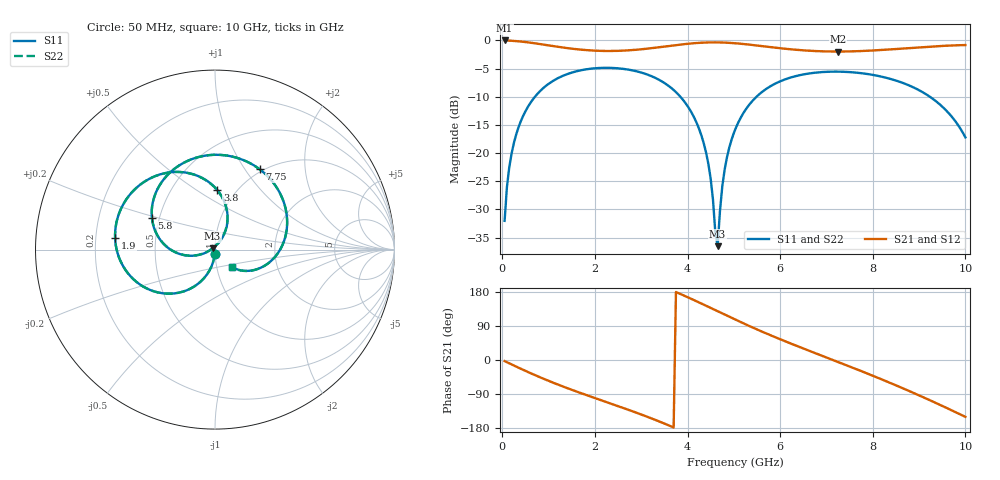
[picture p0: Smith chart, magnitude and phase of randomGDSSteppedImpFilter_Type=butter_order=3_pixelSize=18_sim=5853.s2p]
! freq	dB(S11)	phase(S11)	dB(S12)	phase(S12)
!  dB(S21)	phase(S21)	dB(S22)	phase(S22)
!S-par simulation data
#  GHz  S  DB  R 50
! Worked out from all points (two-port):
!   200 points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, 50 MHz to 10 GHz, reference 50 ohm
!   highest |S21| = -0.01 dB at 50 MHz (marker M1); lowest = -2.0 dB at 7.25 GHz (marker M2)
!   |S21| within 3 dB of the highest: start of sweep to end of sweep
!   lowest |S11| = -36.5 dB at 4.65 GHz (marker M3), VSWR 1.03, Z = 48.7 + j0.679 ohm
!   |S11| at or under -10 dB: start of sweep to 705.7 MHz; 3.846 GHz to 5.49 GHz (1.644 GHz wide, 35.2 % of centre); 9.233 GHz to end of sweep
!   |S22| runs from -36.1 to -4.9 dB; largest |S21 - S12| = 0
!   S11 on the Smith chart (normalised r, x): 50 MHz: 1.00, -0.05; 1.9 GHz: 0.28, +0.05; 3.8 GHz: 0.82, +0.61; 5.8 GHz: 0.45, +0.19; 7.75 GHz: 0.97, +1.17; 10 GHz: 1.19, -0.24
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0.05  -32.04 -93.0  -0.01 -3.0  -0.01 -3.0  -32.04 -93.0
0.1  -26.05 -96.1  -0.02 -5.9  -0.02 -5.9  -26.05 -96.1
0.2  -20.11 -102.2  -0.06 -11.7  -0.06 -11.7  -20.11 -102.2
0.5  -12.58 -119.3  -0.29 -28.7  -0.29 -28.7  -12.58 -119.3
1.05  -7.42 -148.0  -0.94 -57.5  -0.94 -57.5  -7.42 -148.0
1.75  -5.22 179.8  -1.68 -89.7  -1.68 -89.7  -5.22 179.8
1.9  -5.03 173.3  -1.77 -96.2  -1.77 -96.2  -5.03 173.4
2.75  -5.22 137.1  -1.75 -132.6  -1.75 -132.6  -5.22 137.2
3.4  -7.06 107.5  -1.20 -162.7  -1.20 -162.7  -7.06 107.6
3.8  -9.59 87.7  -0.78 176.7  -0.78 176.7  -9.59 87.9
4.35  -18.26 61.0  -0.39 146.0  -0.39 146.0  -18.25 61.4
4.5  -24.57 58.7  -0.35 137.3  -0.35 137.3  -24.54 59.7
4.65  -36.54 152.1  -0.35 128.6  -0.35 128.6  -36.07 150.9
4.8  -23.00 -160.9  -0.39 119.9  -0.39 119.9  -22.98 -161.7
5.05  -15.41 -169.2  -0.52 105.5  -0.52 105.5  -15.40 -169.4
5.8  -8.09 153.1  -1.20 64.9  -1.20 64.9  -8.09 153.1
6.7  -5.78 110.0  -1.86 20.9  -1.86 20.9  -5.78 110.0
7.25  -5.54 84.4  -1.97 -5.2  -1.97 -5.2  -5.54 84.4
7.75  -5.81 60.9  -1.89 -29.2  -1.89 -29.2  -5.81 60.9
8.35  -6.76 31.9  -1.61 -59.1  -1.61 -59.1  -6.76 31.9
9.2  -9.82 -10.3  -1.12 -104.3  -1.12 -104.3  -9.82 -10.4
10  -17.22 -45.3  -0.82 -150.0  -0.82 -150.0  -17.24 -45.7
